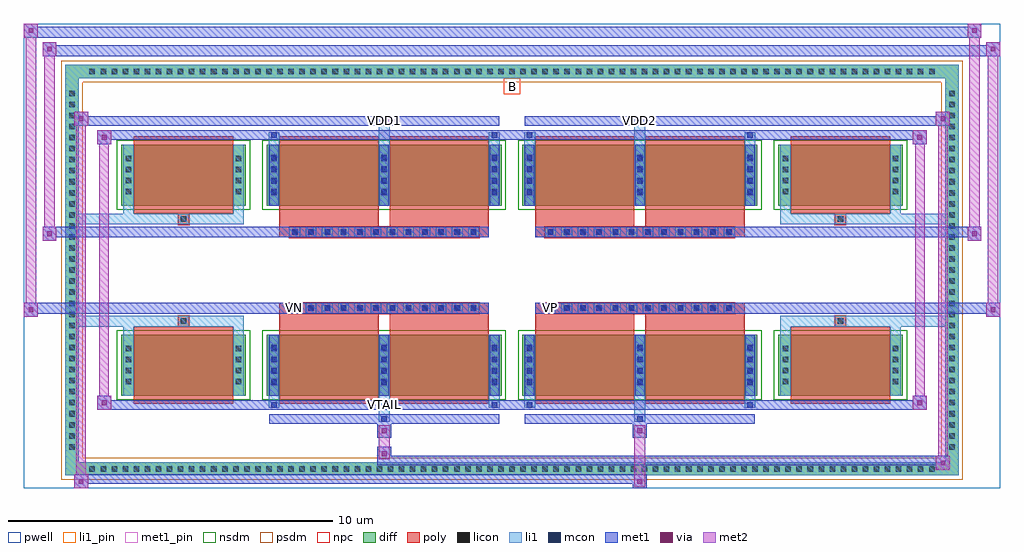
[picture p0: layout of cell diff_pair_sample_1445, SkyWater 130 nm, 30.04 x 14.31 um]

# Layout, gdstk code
import gdstk
lib = gdstk.Library(unit=1e-6, precision=5e-09)
def R(c, l, rs):  # rectangles x0, y0, x1, y1
    for r in rs: c.add(gdstk.rectangle(r[:2], r[2:], *l))
def A(c, l, x, y, w, h, nx, ny, dx, dy):  # array of equal rectangles
    R(c, l, [(x+i*dx, y+j*dy, x+i*dx+w, y+j*dy+h) for i in range(nx) for j in range(ny)])
def P(c, l, *ps):  # polygons
    for p in ps: c.add(gdstk.Polygon(p, *l))
pwell = (64, 44)
diff = (65, 20)
poly = (66, 20)
licon = (66, 44)
li1_pin = (67, 16)
li1 = (67, 20)
mcon = (67, 44)
met1_pin = (68, 16)
met1 = (68, 20)
via = (68, 44)
met2 = (69, 20)
nsdm = (93, 44)
psdm = (94, 20)
npc = (95, 20)

diff_pair_sample_1445 = lib.new_cell('diff_pair_sample_1445')
R(diff_pair_sample_1445, pwell, [(-15.02,-6.72,15.02,7.59), (-12.34,-4.91,-0.01,-0.805), (0.01,-4.91,12.34,-0.805), (-12.34,0.805,-0.01,4.91), (0.01,0.805,12.34,4.91)])
A(diff_pair_sample_1445, diff, -13.125, -6.32, 0.41, 0.41, 77, 2, 0.34, 12.23)
A(diff_pair_sample_1445, diff, -13.75, -5.645, 0.41, 0.41, 1, 33, 0, 0.34)
A(diff_pair_sample_1445, diff, 13.34, -5.645, 0.41, 0.41, 1, 33, 0, 0.34)
R(diff_pair_sample_1445, diff, [(-13.125,-6.32,13.125,-5.91), (-13.75,-5.645,-13.34,5.645), (13.34,-5.645,13.75,5.645), (-12.03,-3.865,-8.19,-1.985), (-7.55,-3.865,-0.32,-1.985), (0.32,-3.865,7.55,-1.985), (8.19,-3.865,12.03,-1.985), (-12.03,1.985,-8.19,3.865), (-7.55,1.985,-0.32,3.865), (0.32,1.985,7.55,3.865), (8.19,1.985,12.03,3.865), (-13.125,5.91,13.125,6.32)])
P(diff_pair_sample_1445, diff, [(13.75,6.32),(-13.75,6.32),(-13.75,-5.91),(-13.34,-5.91),(-13.34,5.91),(13.34,5.91),(13.34,-5.91),(-13.34,-5.91),(-13.75,-5.91),(-13.75,-6.32),(13.75,-6.32)])
A(diff_pair_sample_1445, poly, -6.85, -1.335, 0.33, 0.33, 12, 2, 0.5, 2.34)
A(diff_pair_sample_1445, poly, 1.02, -1.335, 0.33, 0.33, 12, 2, 0.5, 2.34)
R(diff_pair_sample_1445, poly, [(-11.64,-4.115,-8.58,-1.735), (-7.16,-4.115,-4.1,-1.735), (-3.77,-4.115,-0.71,-1.735), (0.71,-4.115,3.77,-1.735), (4.1,-4.115,7.16,-1.735), (8.58,-4.115,11.64,-1.735), (-10.275,-1.735,-9.945,-1.405), (-10.275,-1.735,-9.945,-1.405), (-7.16,-1.735,-4.1,-1.335), (-3.77,-1.735,-0.71,-1.335), (0.71,-1.735,3.77,-1.335), (4.1,-1.735,7.16,-1.335), (9.945,-1.735,10.275,-1.405), (9.945,-1.735,10.275,-1.405), (-7.16,-1.335,-0.71,-1.005), (0.71,-1.335,7.16,-1.005), (-7.16,1.005,-0.71,1.335), (0.71,1.005,7.16,1.335), (-7.16,1.335,-4.1,1.735), (-3.77,1.335,-0.71,1.735), (0.71,1.335,3.77,1.735), (4.1,1.335,7.16,1.735), (-10.275,1.405,-9.945,1.735), (-10.275,1.405,-9.945,1.735), (9.945,1.405,10.275,1.735), (9.945,1.405,10.275,1.735), (-11.64,1.735,-8.58,4.115), (-7.16,1.735,-4.1,4.115), (-3.77,1.735,-0.71,4.115), (0.71,1.735,3.77,4.115), (4.1,1.735,7.16,4.115), (8.58,1.735,11.64,4.115)])
A(diff_pair_sample_1445, licon, -13.005, -6.2, 0.17, 0.17, 77, 2, 0.34, 12.23)
A(diff_pair_sample_1445, licon, -13.63, -5.525, 0.17, 0.17, 1, 33, 0, 0.34)
A(diff_pair_sample_1445, licon, 13.46, -5.525, 0.17, 0.17, 1, 33, 0, 0.34)
A(diff_pair_sample_1445, licon, -11.89, -3.52, 0.17, 0.17, 1, 4, 0, 0.34)
A(diff_pair_sample_1445, licon, -8.5, -3.52, 0.17, 0.17, 1, 4, 0, 0.34)
A(diff_pair_sample_1445, licon, -7.41, -3.52, 0.17, 0.17, 3, 4, 3.39, 0.34)
A(diff_pair_sample_1445, licon, 0.46, -3.52, 0.17, 0.17, 3, 4, 3.39, 0.34)
A(diff_pair_sample_1445, licon, 8.33, -3.52, 0.17, 0.17, 1, 4, 0, 0.34)
A(diff_pair_sample_1445, licon, 11.72, -3.52, 0.17, 0.17, 1, 4, 0, 0.34)
A(diff_pair_sample_1445, licon, -6.77, -1.255, 0.17, 0.17, 12, 2, 0.5, 2.34)
A(diff_pair_sample_1445, licon, 1.1, -1.255, 0.17, 0.17, 12, 2, 0.5, 2.34)
A(diff_pair_sample_1445, licon, -11.89, 2.33, 0.17, 0.17, 1, 4, 0, 0.34)
A(diff_pair_sample_1445, licon, -8.5, 2.33, 0.17, 0.17, 1, 4, 0, 0.34)
A(diff_pair_sample_1445, licon, -7.41, 2.33, 0.17, 0.17, 3, 4, 3.39, 0.34)
A(diff_pair_sample_1445, licon, 0.46, 2.33, 0.17, 0.17, 3, 4, 3.39, 0.34)
A(diff_pair_sample_1445, licon, 8.33, 2.33, 0.17, 0.17, 1, 4, 0, 0.34)
A(diff_pair_sample_1445, licon, 11.72, 2.33, 0.17, 0.17, 1, 4, 0, 0.34)
R(diff_pair_sample_1445, licon, [(-10.195,-1.655,-10.025,-1.485), (10.025,-1.655,10.195,-1.485), (-10.195,1.485,-10.025,1.655), (10.025,1.485,10.195,1.655)])
R(diff_pair_sample_1445, li1_pin, [(-0.25,5.41,0.25,5.91)])
A(diff_pair_sample_1445, li1, -13.085, -6.28, 0.33, 0.33, 77, 2, 0.34, 12.23)
A(diff_pair_sample_1445, li1, -13.71, -5.605, 0.33, 0.33, 1, 33, 0, 0.34)
A(diff_pair_sample_1445, li1, 13.38, -5.605, 0.33, 0.33, 1, 33, 0, 0.34)
A(diff_pair_sample_1445, li1, -7.49, -3.865, 0.33, 1.88, 3, 2, 3.39, 5.85)
A(diff_pair_sample_1445, li1, 0.38, -3.865, 0.33, 1.88, 3, 2, 3.39, 5.85)
A(diff_pair_sample_1445, li1, -11.97, -3.6, 0.33, 0.33, 1, 4, 0, 0.34)
A(diff_pair_sample_1445, li1, -8.58, -3.6, 0.33, 0.33, 1, 4, 0, 0.34)
A(diff_pair_sample_1445, li1, -7.49, -3.6, 0.33, 0.33, 3, 4, 3.39, 0.34)
A(diff_pair_sample_1445, li1, 0.38, -3.6, 0.33, 0.33, 3, 4, 3.39, 0.34)
A(diff_pair_sample_1445, li1, 8.25, -3.6, 0.33, 0.33, 1, 4, 0, 0.34)
A(diff_pair_sample_1445, li1, 11.64, -3.6, 0.33, 0.33, 1, 4, 0, 0.34)
A(diff_pair_sample_1445, li1, -7.41, -3.55, 0.17, 0.17, 3, 4, 3.39, 0.36)
A(diff_pair_sample_1445, li1, -7.41, -3.55, 0.17, 1.25, 3, 2, 3.39, 5.85)
A(diff_pair_sample_1445, li1, 0.46, -3.55, 0.17, 0.17, 3, 4, 3.39, 0.36)
A(diff_pair_sample_1445, li1, 0.46, -3.55, 0.17, 1.25, 3, 2, 3.39, 5.85)
A(diff_pair_sample_1445, li1, -6.85, -1.335, 0.33, 0.33, 12, 2, 0.5, 2.34)
A(diff_pair_sample_1445, li1, 1.02, -1.335, 0.33, 0.33, 12, 2, 0.5, 2.34)
A(diff_pair_sample_1445, li1, -11.97, 2.25, 0.33, 0.33, 1, 4, 0, 0.34)
A(diff_pair_sample_1445, li1, -8.58, 2.25, 0.33, 0.33, 1, 4, 0, 0.34)
A(diff_pair_sample_1445, li1, -7.49, 2.25, 0.33, 0.33, 3, 4, 3.39, 0.34)
A(diff_pair_sample_1445, li1, 0.38, 2.25, 0.33, 0.33, 3, 4, 3.39, 0.34)
A(diff_pair_sample_1445, li1, 8.25, 2.25, 0.33, 0.33, 1, 4, 0, 0.34)
A(diff_pair_sample_1445, li1, 11.64, 2.25, 0.33, 0.33, 1, 4, 0, 0.34)
A(diff_pair_sample_1445, li1, -7.41, 2.3, 0.17, 0.17, 3, 4, 3.39, 0.36)
A(diff_pair_sample_1445, li1, 0.46, 2.3, 0.17, 0.17, 3, 4, 3.39, 0.36)
R(diff_pair_sample_1445, li1, [(-13.75,-6.32,-13.34,-5.91), (-13.75,-6.32,-13.34,-5.91), (-13.34,-6.32,13.34,-5.91), (13.34,-6.32,13.75,-5.91), (13.34,-6.32,13.75,-5.91), (-13.75,-5.91,-13.34,5.91), (13.34,-5.91,13.75,5.91), (-4.1,-4.67,-3.77,-3.865), (-4.02,-4.67,-3.85,-4.5), (3.77,-4.67,4.1,-3.865), (3.85,-4.67,4.02,-4.5), (-7.49,-4.24,-7.16,-3.865), (-7.41,-4.24,-7.24,-4.07), (-0.71,-4.24,-0.38,-3.865), (-0.63,-4.24,-0.46,-4.07), (0.38,-4.24,0.71,-3.865), (0.46,-4.24,0.63,-4.07), (7.16,-4.24,7.49,-3.865), (7.24,-4.24,7.41,-4.07), (-11.97,-3.865,-11.64,-1.985), (-8.58,-3.865,-8.25,-1.985), (8.25,-3.865,8.58,-1.985), (11.64,-3.865,11.97,-1.985), (-11.97,-1.985,-11.64,-1.405), (-8.58,-1.985,-8.25,-1.405), (8.25,-1.985,8.58,-1.405), (11.64,-1.985,11.97,-1.405), (-13.75,-1.735,-10.275,-1.405), (-11.97,-1.735,-10.275,-1.405), (-10.275,-1.735,-9.945,-1.405), (-9.945,-1.735,-8.25,-1.405), (8.25,-1.735,9.945,-1.405), (9.945,-1.735,10.275,-1.405), (9.945,-1.735,13.75,-1.405), (10.275,-1.735,11.97,-1.405), (-13.75,1.405,-10.275,1.735), (-11.97,1.405,-10.275,1.735), (-11.97,1.405,-11.64,1.985), (-10.275,1.405,-9.945,1.735), (-9.945,1.405,-8.25,1.735), (-8.58,1.405,-8.25,1.985), (8.25,1.405,9.945,1.735), (8.25,1.405,8.58,1.985), (9.945,1.405,10.275,1.735), (9.945,1.405,13.75,1.735), (10.275,1.405,11.97,1.735), (11.64,1.405,11.97,1.985), (-11.97,1.985,-11.64,3.865), (-8.58,1.985,-8.25,3.865), (8.25,1.985,8.58,3.865), (11.64,1.985,11.97,3.865), (-7.49,3.865,-7.16,4.24), (-4.1,3.865,-3.77,4.67), (-0.71,3.865,-0.38,4.24), (0.38,3.865,0.71,4.24), (3.77,3.865,4.1,4.67), (7.16,3.865,7.49,4.24), (-7.41,4.07,-7.24,4.24), (-0.63,4.07,-0.46,4.24), (0.46,4.07,0.63,4.24), (7.24,4.07,7.41,4.24), (-4.02,4.5,-3.85,4.67), (3.85,4.5,4.02,4.67), (-13.75,5.91,-13.34,6.32), (-13.75,5.91,-13.34,6.32), (-13.34,5.91,13.34,6.32), (13.34,5.91,13.75,6.32), (13.34,5.91,13.75,6.32)])
A(diff_pair_sample_1445, mcon, -7.41, -3.55, 0.17, 0.17, 3, 4, 3.39, 0.36)
A(diff_pair_sample_1445, mcon, 0.46, -3.55, 0.17, 0.17, 3, 4, 3.39, 0.36)
A(diff_pair_sample_1445, mcon, -6.77, -1.255, 0.17, 0.17, 12, 2, 0.5, 2.34)
A(diff_pair_sample_1445, mcon, 1.1, -1.255, 0.17, 0.17, 12, 2, 0.5, 2.34)
A(diff_pair_sample_1445, mcon, -7.41, 2.3, 0.17, 0.17, 3, 4, 3.39, 0.36)
A(diff_pair_sample_1445, mcon, 0.46, 2.3, 0.17, 0.17, 3, 4, 3.39, 0.36)
R(diff_pair_sample_1445, mcon, [(-4.02,-4.67,-3.85,-4.5), (3.85,-4.67,4.02,-4.5), (-7.41,-4.24,-7.24,-4.07), (-0.63,-4.24,-0.46,-4.07), (0.46,-4.24,0.63,-4.07), (7.24,-4.24,7.41,-4.07), (-7.41,4.07,-7.24,4.24), (-0.63,4.07,-0.46,4.24), (0.46,4.07,0.63,4.24), (7.24,4.07,7.41,4.24), (-4.02,4.5,-3.85,4.67), (3.85,4.5,4.02,4.67)])
R(diff_pair_sample_1445, met1_pin, [(-4.07,-4.28,-3.8,-4.01), (-6.82,-1.295,-6.55,-1.025), (1.05,-1.295,1.32,-1.025), (-4.07,4.46,-3.8,4.73), (3.8,4.46,4.07,4.73)])
A(diff_pair_sample_1445, met1, -7.47, -3.865, 0.29, 1.88, 3, 2, 3.39, 5.85)
A(diff_pair_sample_1445, met1, 0.4, -3.865, 0.29, 1.88, 3, 2, 3.39, 5.85)
A(diff_pair_sample_1445, met1, -7.47, -3.61, 0.29, 0.29, 3, 4, 3.39, 0.36)
A(diff_pair_sample_1445, met1, 0.4, -3.61, 0.29, 0.29, 3, 4, 3.39, 0.36)
A(diff_pair_sample_1445, met1, -6.83, -1.315, 0.29, 0.29, 12, 2, 0.5, 2.34)
A(diff_pair_sample_1445, met1, 1.04, -1.315, 0.29, 0.29, 12, 2, 0.5, 2.34)
A(diff_pair_sample_1445, met1, -7.47, 2.24, 0.29, 0.29, 3, 4, 3.39, 0.36)
A(diff_pair_sample_1445, met1, 0.4, 2.24, 0.29, 0.29, 3, 4, 3.39, 0.36)
R(diff_pair_sample_1445, met1, [(-13.48,-6.72,-13.05,-6.29), (3.72,-6.72,4.15,-6.29), (-13.48,-6.58,4.15,-6.29), (13.05,-6.15,13.48,-5.72), (-4.15,-6.01,13.48,-5.72), (-4.15,-5.87,-3.72,-5.44), (-4.15,-5.16,-3.72,-4.73), (3.72,-5.16,4.15,-4.73), (-7.47,-4.73,-0.4,-4.44), (-4.08,-4.73,-3.79,-4.44), (0.4,-4.73,7.47,-4.44), (3.79,-4.73,4.08,-4.44), (-12.77,-4.3,-12.34,-3.87), (-12.77,-4.3,-7.47,-4.01), (-7.47,-4.3,-7.18,-4.01), (-7.47,-4.3,-0.4,-4.01), (-0.69,-4.3,-0.4,-4.01), (-0.4,-4.3,0.4,-4.01), (0.4,-4.3,0.69,-4.01), (0.4,-4.3,7.47,-4.01), (7.18,-4.3,7.47,-4.01), (7.47,-4.3,12.77,-4.01), (12.34,-4.3,12.77,-3.87), (-15.02,-1.435,-14.59,-1.005), (14.59,-1.435,15.02,-1.005), (-15.02,-1.335,-0.71,-1.005), (-7.16,-1.335,-0.71,-1.005), (0.71,-1.335,7.16,-1.005), (0.71,-1.335,15.02,-1.005), (-14.45,0.905,-14.02,1.335), (14.02,0.905,14.45,1.335), (-14.45,1.005,-7.16,1.335), (-7.16,1.005,-0.71,1.335), (0.71,1.005,7.16,1.335), (7.16,1.005,14.45,1.335), (-12.77,3.87,-12.34,4.3), (12.34,3.87,12.77,4.3), (-12.77,4.01,-7.47,4.3), (-7.47,4.01,-7.18,4.3), (-7.47,4.01,-0.4,4.3), (-0.69,4.01,-0.4,4.3), (-0.4,4.01,0.4,4.3), (0.4,4.01,0.69,4.3), (0.4,4.01,7.47,4.3), (7.18,4.01,7.47,4.3), (7.47,4.01,12.77,4.3), (-13.48,4.44,-13.05,4.87), (-13.48,4.44,-7.47,4.73), (-7.47,4.44,-0.4,4.73), (-4.08,4.44,-3.79,4.73), (0.4,4.44,7.47,4.73), (3.79,4.44,4.08,4.73), (7.47,4.44,13.48,4.73), (13.05,4.44,13.48,4.87), (-14.45,6.59,-14.02,7.02), (-14.45,6.59,-12.34,6.92), (-12.34,6.59,12.34,6.92), (12.34,6.59,15.02,6.92), (14.59,6.59,15.02,7.02), (-15.02,7.16,-14.59,7.59), (-15.02,7.16,-12.34,7.49), (-12.34,7.16,12.34,7.49), (12.34,7.16,14.45,7.49), (14.02,7.16,14.45,7.59)])
R(diff_pair_sample_1445, via, [(-13.34,-6.58,-13.19,-6.43), (3.86,-6.58,4.01,-6.43), (13.19,-6.01,13.34,-5.86), (-4.01,-5.73,-3.86,-5.58), (-4.01,-5.02,-3.86,-4.87), (3.86,-5.02,4.01,-4.87), (-12.63,-4.16,-12.48,-4.01), (12.48,-4.16,12.63,-4.01), (-14.88,-1.295,-14.73,-1.145), (14.73,-1.295,14.88,-1.145), (-14.31,1.045,-14.16,1.195), (14.16,1.045,14.31,1.195), (-12.63,4.01,-12.48,4.16), (12.48,4.01,12.63,4.16), (-13.34,4.58,-13.19,4.73), (13.19,4.58,13.34,4.73), (-14.31,6.73,-14.16,6.88), (14.73,6.73,14.88,6.88), (-14.88,7.3,-14.73,7.45), (14.16,7.3,14.31,7.45)])
R(diff_pair_sample_1445, met2, [(-13.48,-6.72,-13.05,-6.29), (-13.41,-6.72,-13.12,4.87), (-13.12,-6.72,-13.05,-6.29), (-13.43,-6.67,-13.1,-6.34), (3.77,-6.67,4.1,-6.34), (3.77,-6.34,4.1,-5.11), (13.05,-6.15,13.48,-5.72), (13.12,-6.15,13.41,4.87), (13.41,-6.15,13.48,-5.72), (13.1,-6.1,13.43,-5.77), (-4.1,-5.82,-3.77,-5.49), (-4.1,-5.49,-3.77,-5.11), (-4.1,-5.11,-3.77,-4.78), (3.77,-5.11,4.1,-4.78), (-12.77,-4.3,-12.34,-3.87), (-12.7,-4.3,-12.41,4.3), (-12.41,-4.3,-12.34,-3.87), (12.34,-4.3,12.77,-3.87), (12.41,-4.3,12.7,4.3), (12.7,-4.3,12.77,-3.87), (-12.72,-4.25,-12.39,-3.92), (12.39,-4.25,12.72,-3.92), (-15.02,-1.435,-14.59,-1.005), (-14.97,-1.435,-14.64,7.59), (-14.64,-1.435,-14.59,-1.005), (14.59,-1.435,15.02,-1.005), (14.64,-1.435,14.97,7.02), (14.97,-1.435,15.02,-1.005), (-14.97,-1.385,-14.64,-1.055), (14.64,-1.385,14.97,-1.055), (-14.45,0.905,-14.02,1.335), (-14.4,0.905,-14.07,7.02), (-14.07,0.905,-14.02,1.335), (14.02,0.905,14.45,1.335), (14.07,0.905,14.4,7.59), (14.4,0.905,14.45,1.335), (-14.4,0.955,-14.07,1.285), (14.07,0.955,14.4,1.285), (-12.77,3.87,-12.34,4.3), (-12.41,3.87,-12.34,4.3), (12.34,3.87,12.77,4.3), (12.7,3.87,12.77,4.3), (-12.72,3.92,-12.39,4.25), (12.39,3.92,12.72,4.25), (-13.48,4.44,-13.05,4.87), (-13.12,4.44,-13.05,4.87), (13.05,4.44,13.48,4.87), (13.41,4.44,13.48,4.87), (-13.43,4.49,-13.1,4.82), (13.1,4.49,13.43,4.82), (-14.45,6.59,-14.02,7.02), (-14.07,6.59,-14.02,7.02), (14.59,6.59,15.02,7.02), (14.97,6.59,15.02,7.02), (-14.4,6.64,-14.07,6.97), (14.64,6.64,14.97,6.97), (-15.02,7.16,-14.59,7.59), (-14.64,7.16,-14.59,7.59), (14.02,7.16,14.45,7.59), (14.4,7.16,14.45,7.59), (-14.97,7.21,-14.64,7.54), (14.07,7.21,14.4,7.54)])
R(diff_pair_sample_1445, nsdm, [(-12.16,-3.995,-8.06,-1.855), (-7.68,-3.995,-0.19,-1.855), (0.19,-3.995,7.68,-1.855), (8.06,-3.995,12.16,-1.855), (-12.16,1.855,-8.06,3.995), (-7.68,1.855,-0.19,3.995), (0.19,1.855,7.68,3.995), (8.06,1.855,12.16,3.995)])
P(diff_pair_sample_1445, psdm, [(13.88,6.45),(-13.88,6.45),(-13.88,-5.78),(-13.21,-5.78),(-13.21,5.78),(13.21,5.78),(13.21,-5.78),(-13.21,-5.78),(-13.88,-5.78),(-13.88,-6.45),(13.88,-6.45)])
A(diff_pair_sample_1445, npc, -6.87, -1.355, 0.37, 0.37, 12, 2, 0.5, 2.34)
A(diff_pair_sample_1445, npc, 1, -1.355, 0.37, 0.37, 12, 2, 0.5, 2.34)
R(diff_pair_sample_1445, npc, [(-10.295,-1.755,-9.925,-1.385), (9.925,-1.755,10.295,-1.385), (-6.87,-1.355,-6,-0.985), (-6.87,-1.355,-6,-0.985), (-6.37,-1.355,-5.5,-0.985), (-6.37,-1.355,-5.5,-0.985), (-5.87,-1.355,-5,-0.985), (-5.87,-1.355,-5,-0.985), (-5.37,-1.355,-4.5,-0.985), (-5.37,-1.355,-4.5,-0.985), (-4.87,-1.355,-4,-0.985), (-4.87,-1.355,-4,-0.985), (-4.37,-1.355,-3.5,-0.985), (-4.37,-1.355,-3.5,-0.985), (-3.87,-1.355,-3,-0.985), (-3.87,-1.355,-3,-0.985), (-3.37,-1.355,-2.5,-0.985), (-3.37,-1.355,-2.5,-0.985), (-2.87,-1.355,-2,-0.985), (-2.87,-1.355,-2,-0.985), (-2.37,-1.355,-1.5,-0.985), (-2.37,-1.355,-1.5,-0.985), (-1.87,-1.355,-1,-0.985), (-1.87,-1.355,-1,-0.985), (1,-1.355,1.87,-0.985), (1,-1.355,1.87,-0.985), (1.5,-1.355,2.37,-0.985), (1.5,-1.355,2.37,-0.985), (2,-1.355,2.87,-0.985), (2,-1.355,2.87,-0.985), (2.5,-1.355,3.37,-0.985), (2.5,-1.355,3.37,-0.985), (3,-1.355,3.87,-0.985), (3,-1.355,3.87,-0.985), (3.5,-1.355,4.37,-0.985), (3.5,-1.355,4.37,-0.985), (4,-1.355,4.87,-0.985), (4,-1.355,4.87,-0.985), (4.5,-1.355,5.37,-0.985), (4.5,-1.355,5.37,-0.985), (5,-1.355,5.87,-0.985), (5,-1.355,5.87,-0.985), (5.5,-1.355,6.37,-0.985), (5.5,-1.355,6.37,-0.985), (6,-1.355,6.87,-0.985), (6,-1.355,6.87,-0.985), (-6.87,0.985,-6,1.355), (-6.87,0.985,-6,1.355), (-6.37,0.985,-5.5,1.355), (-6.37,0.985,-5.5,1.355), (-5.87,0.985,-5,1.355), (-5.87,0.985,-5,1.355), (-5.37,0.985,-4.5,1.355), (-5.37,0.985,-4.5,1.355), (-4.87,0.985,-4,1.355), (-4.87,0.985,-4,1.355), (-4.37,0.985,-3.5,1.355), (-4.37,0.985,-3.5,1.355), (-3.87,0.985,-3,1.355), (-3.87,0.985,-3,1.355), (-3.37,0.985,-2.5,1.355), (-3.37,0.985,-2.5,1.355), (-2.87,0.985,-2,1.355), (-2.87,0.985,-2,1.355), (-2.37,0.985,-1.5,1.355), (-2.37,0.985,-1.5,1.355), (-1.87,0.985,-1,1.355), (-1.87,0.985,-1,1.355), (1,0.985,1.87,1.355), (1,0.985,1.87,1.355), (1.5,0.985,2.37,1.355), (1.5,0.985,2.37,1.355), (2,0.985,2.87,1.355), (2,0.985,2.87,1.355), (2.5,0.985,3.37,1.355), (2.5,0.985,3.37,1.355), (3,0.985,3.87,1.355), (3,0.985,3.87,1.355), (3.5,0.985,4.37,1.355), (3.5,0.985,4.37,1.355), (4,0.985,4.87,1.355), (4,0.985,4.87,1.355), (4.5,0.985,5.37,1.355), (4.5,0.985,5.37,1.355), (5,0.985,5.87,1.355), (5,0.985,5.87,1.355), (5.5,0.985,6.37,1.355), (5.5,0.985,6.37,1.355), (6,0.985,6.87,1.355), (6,0.985,6.87,1.355), (-10.295,1.385,-9.925,1.755), (9.925,1.385,10.295,1.755)])
diff_pair_sample_1445.add(gdstk.Label('VTAIL', (-3.935,-4.145), layer=68, texttype=5))
diff_pair_sample_1445.add(gdstk.Label('VN', (-6.685,-1.16), layer=68, texttype=5))
diff_pair_sample_1445.add(gdstk.Label('VP', (1.185,-1.16), layer=68, texttype=5))
diff_pair_sample_1445.add(gdstk.Label('B', (0,5.66), layer=67, texttype=5))
diff_pair_sample_1445.add(gdstk.Label('VDD2', (3.935,4.595), layer=68, texttype=5))
diff_pair_sample_1445.add(gdstk.Label('VDD1', (-3.935,4.595), layer=68, texttype=5))

lib.write_gds('diff_pair_sample_1445.gds')
